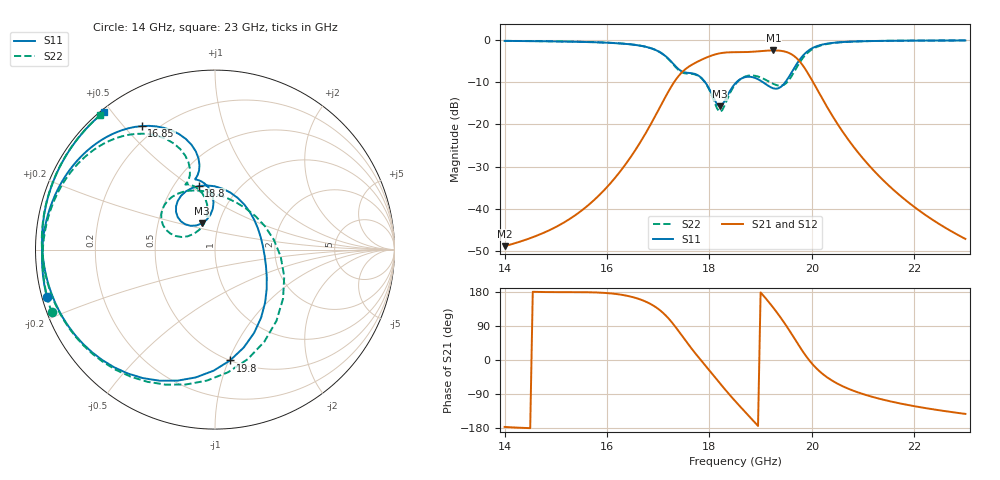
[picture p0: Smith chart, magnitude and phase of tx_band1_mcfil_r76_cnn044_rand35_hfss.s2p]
! Touchstone file exported from HFSS 3D Layout Design 2026.1.0
!  File:  D:/Work/SIM/ADS_AUTO_SIM/projects/RFSOC_RF/TX_Fillter.aedt
!  Generated:  08:21:31 AM Aug 31, 2026
!  Design:  TX_BAND1_MCFIL_R76_CNN044
!  Project:  TX_Fillter
# GHz S MA R 50.000000
! Terminal data exported
! Port[1] = Port1
! Port[2] = Port2
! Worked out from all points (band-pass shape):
!   181 points, 14 GHz to 23 GHz, reference 50 ohm
!   highest |S21| = -2.49 dB at 19.25 GHz (marker M1); lowest = -48.9 dB at 14 GHz (marker M2)
!   |S21| within 3 dB of the highest: 17.72 GHz to 19.79 GHz (2.074 GHz wide, 11.1 % of centre)
!   lowest |S11| = -15.7 dB at 18.2 GHz (marker M3), VSWR 1.39, Z = 41.5 + j12.4 ohm
!   |S11| at or under -10 dB: 17.92 GHz to 18.53 GHz (616.6 MHz wide, 3.38 % of centre); 19.04 GHz to 19.48 GHz (439.1 MHz wide, 2.28 % of centre)
!   |S22| runs from -17.0 to -0.1 dB; largest |S21 - S12| = 2.9e-14
!   S11 on the Smith chart (normalised r, x): 14 GHz: 0.01, -0.14; 16.85 GHz: 0.15, +0.56; 18.8 GHz: 0.66, +0.54; 19.8 GHz: 0.50, -1.01; 23 GHz: 0.01, +0.48
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14  0.9734 -164.1  0.003608 -176.6  0.003608 -176.6  0.9746 -159.0
15.5  0.9478 165.7  0.009487 179.0  0.009487 179.0  0.9498 171.5
16.3  0.9037 143.4  0.02991 171.8  0.02991 171.8  0.9061 149.6
16.85  0.7999 120.6  0.09907 147.9  0.09907 147.9  0.8009 127.0
17  0.7347 112.6  0.1459 134.9  0.1459 134.9  0.7339 119.1
17.25  0.5574 101.0  0.2764 102.2  0.2764 102.2  0.5503 107.6
17.55  0.4092 105.6  0.4597 48.2  0.4597 48.2  0.3995 114.0
17.9  0.3257 94.1  0.6028 -11.2  0.6028 -11.2  0.3223 102.8
18.2  0.1632 116.8  0.6932 -60.6  0.6932 -60.6  0.1407 128.4
18.35  0.218 139.7  0.7114 -84.8  0.7114 -84.8  0.1997 159.4
18.5  0.3025 135.9  0.7153 -107.9  0.7153 -107.9  0.2946 158.0
18.8  0.3656 104.2  0.7214 -151.8  0.7214 -151.8  0.3793 133.7
19.05  0.3144 66.3  0.7407 170.6  0.7407 170.6  0.3483 108.9
19.25  0.2666 26.1  0.751 137.6  0.751 137.6  0.3014 83.2
19.5  0.3262 -27.9  0.7203 90.7  0.7203 90.7  0.3072 25.1
19.65  0.4575 -55.8  0.6478 59.3  0.6478 59.3  0.4138 -21.2
19.8  0.6233 -82.3  0.5222 27.5  0.5222 27.5  0.5822 -61.8
20  0.793 -112.9  0.3363 -8.9  0.3363 -8.9  0.7691 -102.2
20.25  0.8927 -140.2  0.1806 -40.8  0.1806 -40.8  0.8831 -134.6
20.55  0.9387 -161.8  0.0913 -65.8  0.0913 -65.8  0.9358 -158.6
21.5  0.976 160.8  0.01893 -108.1  0.01893 -108.1  0.9763 162.6
23  0.9851 129.0  0.004398 -142.2  0.004398 -142.2  0.9852 130.6
